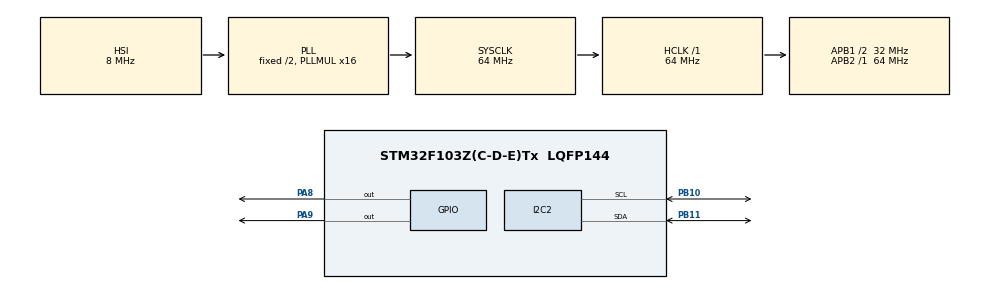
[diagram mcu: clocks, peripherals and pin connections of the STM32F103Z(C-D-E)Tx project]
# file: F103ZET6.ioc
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Mcu.Family=STM32F1
Mcu.Name=STM32F103Z(C-D-E)Tx
Mcu.Package=LQFP144
NVIC.PriorityGroup=NVIC_PRIORITYGROUP_4
NVIC.TIM2_IRQn=true\:0\:0\:false\:false\:true\:true\:true\:true
PA8.GPIO_ModeDefaultOutputPP=GPIO_MODE_OUTPUT_PP
PA8.GPIO_PuPd=GPIO_PULLUP
PA8.GPIO_Speed=GPIO_SPEED_FREQ_HIGH
PA8.PinState=GPIO_PIN_SET
PA8.Signal=GPIO_Output
PA9.GPIO_ModeDefaultOutputPP=GPIO_MODE_OUTPUT_PP
PA9.GPIO_PuPd=GPIO_PULLUP
PA9.GPIO_Speed=GPIO_SPEED_FREQ_HIGH
PA9.PinState=GPIO_PIN_SET
PA9.Signal=GPIO_Output
PB10.Mode=I2C
PB10.Signal=I2C2_SCL
PB11.Mode=I2C
PB11.Signal=I2C2_SDA
ProjectManager.HeapSize=0x200
ProjectManager.StackSize=0x400
ProjectManager.TargetToolchain=MDK-ARM V5.32
RCC.AHBFreq_Value=64000000
RCC.APB1CLKDivider=RCC_HCLK_DIV2
RCC.APB1Freq_Value=32000000
RCC.APB1TimFreq_Value=64000000
RCC.APB2Freq_Value=64000000
RCC.APB2TimFreq_Value=64000000
RCC.HCLKFreq_Value=64000000
RCC.PLLMUL=RCC_PLL_MUL16
RCC.SYSCLKFreq_VALUE=64000000
RCC.SYSCLKSource=RCC_SYSCLKSOURCE_PLLCLK
RCC.USBFreq_Value=64000000
TIM2.AutoReloadPreload=TIM_AUTORELOAD_PRELOAD_ENABLE
TIM2.Period=100
TIM2.Prescaler=3200 - 1
VP_SYS_VS_ND.Mode=No_Debug
VP_TIM2_VS_ClockSourceINT.Mode=Internal
board=custom

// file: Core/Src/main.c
/* USER CODE BEGIN Header */
/**
 ******************************************************************************
 * @file           : main.c
 * @brief          : Main program body
 ******************************************************************************
 * @attention
 *
 * Copyright (c) 2025 STMicroelectronics.
 * All rights reserved.
 *
 * This software is licensed under terms that can be found in the LICENSE file
 * in the root directory of this software component.
 * If no LICENSE file comes with this software, it is provided AS-IS.
 *
 ******************************************************************************
 */
/* USER CODE END Header */
#include "main.h"

#include "gpio.h"
#include "i2c.h"
#include "tim.h"

/* USER CODE BEGIN Includes */

#include "attitude_algorithm/attitude_algorithm.h"
#include "menu_nest/menu.h"
#include "menu_nest_tiny/item_page_entrance.h"
#include "menu_nest_tiny/item_static_variable.h"
#include "menu_nest_tiny/page_base.h"
#include "ssd1306/ssd1306.h"
/* USER CODE END Includes */

void SystemClock_Config(void);

/* USER CODE BEGIN 0 */
void menu_init() {
    MN_page *p_main_page = create_base_page("mainPage");
    MN_menu_init(p_main_page);
}

Attitude_module attitude_module = {0};
/* USER CODE END 0 */

int main(void) {

    /* MCU Configuration--------------------------------------------------------*/

    /* Reset of all peripherals, Initializes the Flash interface and the Systick. */
    HAL_Init();

    /* Configure the system clock */
    SystemClock_Config();

    /* Initialize all configured peripherals */
    MX_GPIO_Init();
    MX_TIM2_Init();
    MX_I2C2_Init();
    /* USER CODE BEGIN 2 */
    menu_init();          // 初始化菜单
    ssd1306_Init();       // 初始化OLED
    ssd1306_Fill(Black);  // 清屏
    init_attitude(&attitude_module, 0.005f);

    HAL_TIM_Base_Start_IT(&htim2);
    /* USER CODE END 2 */

    /* Infinite loop */
    /* USER CODE BEGIN WHILE */

    MN_item *p_var_rol = create_item_static_variable("roll", &attitude_module.pose_module.data.rol, TYPE_F32);
    MN_item *p_var_pit = create_item_static_variable("pitch", &attitude_module.pose_module.data.pit, TYPE_F32);
    MN_item *p_var_yaw = create_item_static_variable("yaw", &attitude_module.pose_module.data.yaw, TYPE_F32);

    MN_page *p_main_page = MN_get_main_page();
    MN_page_add_item(p_main_page, p_var_rol);
    MN_page_add_item(p_main_page, p_var_pit);
    MN_page_add_item(p_main_page, p_var_yaw);

    while (1) {
        /* USER CODE END WHILE */

        /* USER CODE BEGIN 3 */
        MN_menu_handle_input_queue();  // 处理菜单的输入队列
        MN_menu_rendering();           // 渲染菜单
    }
    /* USER CODE END 3 */
}

void SystemClock_Config(void) {
    RCC_OscInitTypeDef RCC_OscInitStruct = {0};
    RCC_ClkInitTypeDef RCC_ClkInitStruct = {0};

    /** Initializes the RCC Oscillators according to the specified parameters
     * in the RCC_OscInitTypeDef structure.
     */
    RCC_OscInitStruct.OscillatorType = RCC_OSCILLATORTYPE_HSI;
    RCC_OscInitStruct.HSIState = RCC_HSI_ON;
    RCC_OscInitStruct.HSICalibrationValue = RCC_HSICALIBRATION_DEFAULT;
    RCC_OscInitStruct.PLL.PLLState = RCC_PLL_ON;
    RCC_OscInitStruct.PLL.PLLSource = RCC_PLLSOURCE_HSI_DIV2;
    RCC_OscInitStruct.PLL.PLLMUL = RCC_PLL_MUL16;
    if (HAL_RCC_OscConfig(&RCC_OscInitStruct) != HAL_OK) {
        Error_Handler();
    }

    /** Initializes the CPU, AHB and APB buses clocks
     */
    RCC_ClkInitStruct.ClockType = RCC_CLOCKTYPE_HCLK | RCC_CLOCKTYPE_SYSCLK | RCC_CLOCKTYPE_PCLK1 | RCC_CLOCKTYPE_PCLK2;
    RCC_ClkInitStruct.SYSCLKSource = RCC_SYSCLKSOURCE_PLLCLK;
    RCC_ClkInitStruct.AHBCLKDivider = RCC_SYSCLK_DIV1;
    RCC_ClkInitStruct.APB1CLKDivider = RCC_HCLK_DIV2;
    RCC_ClkInitStruct.APB2CLKDivider = RCC_HCLK_DIV1;

    if (HAL_RCC_ClockConfig(&RCC_ClkInitStruct, FLASH_LATENCY_2) != HAL_OK) {
        Error_Handler();
    }
}

/* USER CODE BEGIN 4 */
void HAL_TIM_PeriodElapsedCallback(TIM_HandleTypeDef *htim) {
    static unsigned char ledState = 0;
    if (htim->Instance == TIM2) {
        update_attitude(&attitude_module);
    }
}
/* USER CODE END 4 */

void Error_Handler(void) {
    __disable_irq();
    while (1) {
    }
}
